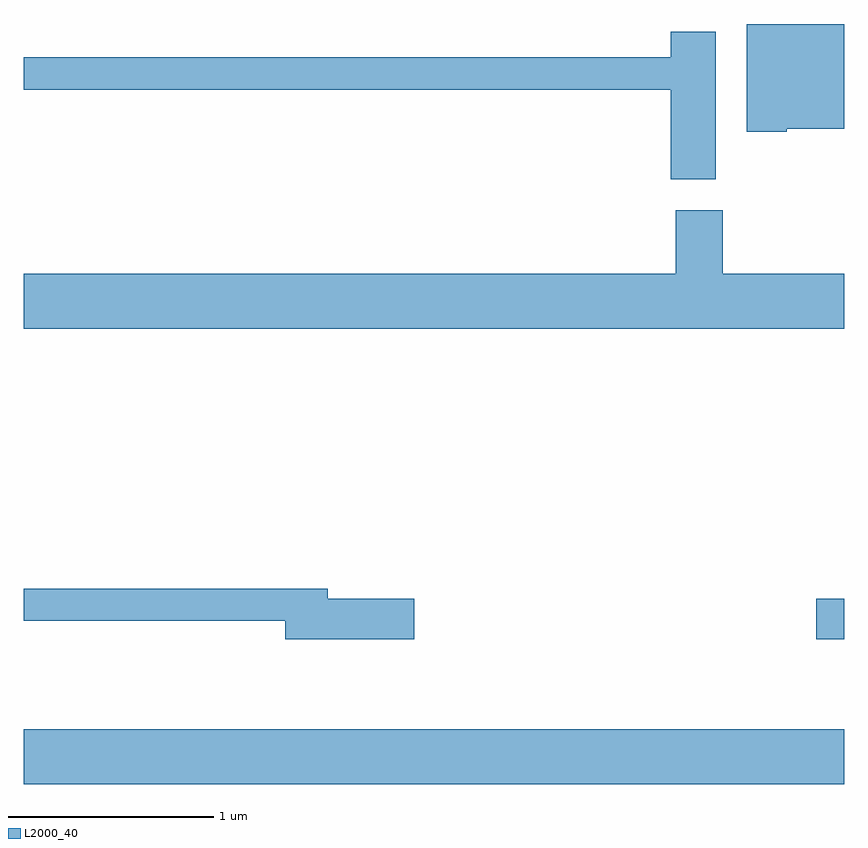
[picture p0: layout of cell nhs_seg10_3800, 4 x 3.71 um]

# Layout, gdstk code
import gdstk
lib = gdstk.Library(unit=1e-6, precision=1e-09)
def R(c, l, rs):  # rectangles x0, y0, x1, y1
    for r in rs: c.add(gdstk.rectangle(r[:2], r[2:], *l))
def P(c, l, *ps):  # polygons
    for p in ps: c.add(gdstk.Polygon(p, *l))
L2000_40 = (2000, 40)

nhs_seg10_3800 = lib.new_cell('nhs_seg10_3800')
R(nhs_seg10_3800, L2000_40, [(297.611,2102.816,301.611,2103.084), (301.476,2103.521,301.611,2103.719)])
P(nhs_seg10_3800, L2000_40, [(301.33,2106.011),(301.611,2106.011),(301.611,2106.522),(301.136,2106.522),(301.136,2105.996),(301.33,2105.996)],
  [(300.984,2106.484),(300.766,2106.484),(300.766,2106.359),(297.611,2106.359),(297.611,2106.201),(300.766,2106.201),(300.766,2105.766),(300.984,2105.766)],
  [(301.611,2105.304),(301.019,2105.304),(301.019,2105.614),(300.791,2105.614),(300.791,2105.304),(297.611,2105.304),(297.611,2105.036),(301.611,2105.036)],
  [(299.514,2103.719),(299.094,2103.719),(299.094,2103.769),(297.611,2103.769),(297.611,2103.611),(298.886,2103.611),(298.886,2103.521),(299.514,2103.521)])

lib.write_gds('nhs_seg10_3800.gds')
